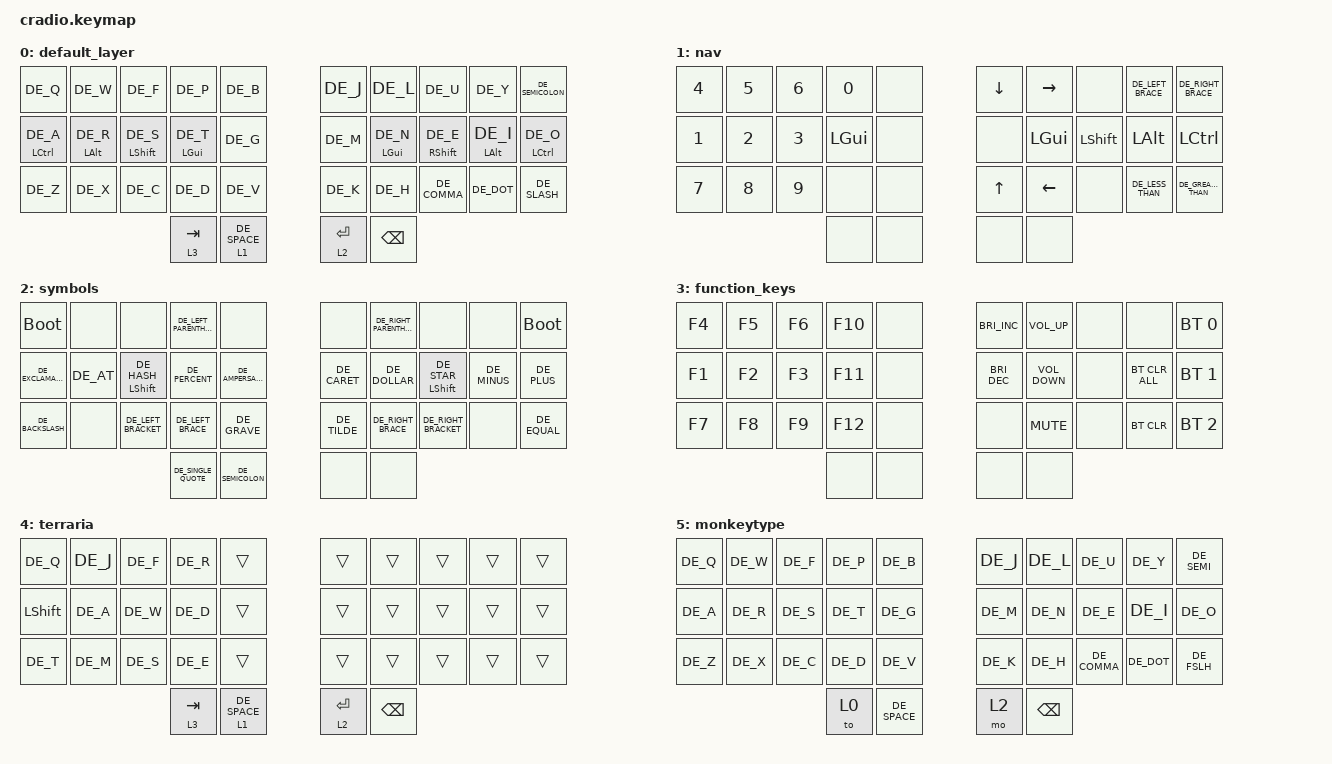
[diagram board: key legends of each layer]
/*
 * Copyright (c) 2020 The ZMK Contributors
 *
 * SPDX-License-Identifier: MIT
 */

#include "keys_de.h"
#include <behaviors.dtsi>
#include <dt-bindings/zmk/bt.h>
#include <dt-bindings/zmk/keys.h>

&mt {
    flavor = "tap-preferred";
    tapping_term_ms = <200>;
};

/ {
    combos {
        compatible = "zmk,combos";

        monkeytype {
            bindings = <&to 4>;
            key-positions = <0 9>;
        };

        layer_default {
            bindings = <&to 0>;
            key-positions = <31 32>;
            layers = <0>;
        };

        terraria {
            bindings = <&to 4>;
            key-positions = <0 2>;
        };

        EscapeL {
            bindings = <&kp ESCAPE>;
            key-positions = <14 13>;
        };

        EscapeR {
            bindings = <&kp ESCAPE>;
            key-positions = <15 16>;
        };
    };

    keymap {
        compatible = "zmk,keymap";

        default_layer {
            bindings = <
&kp DE_Q        &kp DE_W       &kp DE_F         &kp DE_P       &kp DE_B        &kp DE_J     &kp DE_L       &kp DE_U         &kp DE_Y       &kp DE_SEMICOLON
&mt LCTRL DE_A  &mt LALT DE_R  &mt LSHIFT DE_S  &mt LGUI DE_T  &kp DE_G        &kp DE_M     &mt LGUI DE_N  &mt RSHIFT DE_E  &mt LALT DE_I  &mt LCTRL DE_O
&kp DE_Z        &kp DE_X       &kp DE_C         &kp DE_D       &kp DE_V        &kp DE_K     &kp DE_H       &kp DE_COMMA     &kp DE_DOT     &kp DE_SLASH
                                                &lt 3 TAB      &lt 1 DE_SPACE  &lt 2 ENTER  &kp BACKSPACE
            >;
        };

        nav {
            bindings = <
&kp NUMBER_4  &kp NUMBER_5  &kp NUMBER_6  &kp N0        &none  &kp DOWN_ARROW  &kp RIGHT_ARROW  &none           &kp DE_LEFT_BRACE  &kp DE_RIGHT_BRACE
&kp NUMBER_1  &kp NUMBER_2  &kp NUMBER_3  &kp LEFT_GUI  &none  &none           &kp LGUI         &kp LEFT_SHIFT  &kp LEFT_ALT       &kp LCTRL
&kp NUMBER_7  &kp NUMBER_8  &kp NUMBER_9  &none         &none  &kp UP_ARROW    &kp LEFT_ARROW   &none           &kp DE_LESS_THAN   &kp DE_GREATER_THAN
                                          &none         &none  &none           &none
            >;
        };

        symbols {
            bindings = <
&bootloader         &none      &none                &kp DE_LEFT_PARENTHESIS  &none             &none         &kp DE_RIGHT_PARENTHESIS  &none                 &none         &bootloader
&kp DE_EXCLAMATION  &kp DE_AT  &mt LSHFT DE_HASH    &kp DE_PERCENT           &kp DE_AMPERSAND  &kp DE_CARET  &kp DE_DOLLAR             &mt LSHFT DE_STAR     &kp DE_MINUS  &kp DE_PLUS
&kp DE_BACKSLASH    &none      &kp DE_LEFT_BRACKET  &kp DE_LEFT_BRACE        &kp DE_GRAVE      &kp DE_TILDE  &kp DE_RIGHT_BRACE        &kp DE_RIGHT_BRACKET  &none         &kp DE_EQUAL
                                                    &kp DE_SINGLE_QUOTE      &kp DE_SEMICOLON  &none         &none
            >;
        };

        function_keys {
            bindings = <
&kp F4  &kp F5  &kp F6  &kp F10  &none  &kp C_BRIGHTNESS_INC  &kp C_VOLUME_UP    &none  &none           &bt BT_SEL 0
&kp F1  &kp F2  &kp F3  &kp F11  &none  &kp C_BRIGHTNESS_DEC  &kp C_VOLUME_DOWN  &none  &bt BT_CLR_ALL  &bt BT_SEL 1
&kp F7  &kp F8  &kp F9  &kp F12  &none  &none                 &kp K_MUTE         &none  &bt BT_CLR      &bt BT_SEL 2
                        &none    &none  &none                 &none
            >;
        };

        terraria {
            bindings = <
&kp DE_Q        &kp DE_J  &kp DE_F  &kp DE_R   &trans          &trans       &trans         &trans  &trans  &trans
&kp LEFT_SHIFT  &kp DE_A  &kp DE_W  &kp DE_D   &trans          &trans       &trans         &trans  &trans  &trans
&kp DE_T        &kp DE_M  &kp DE_S  &kp DE_E   &trans          &trans       &trans         &trans  &trans  &trans
                                    &lt 3 TAB  &lt 1 DE_SPACE  &lt 2 ENTER  &kp BACKSPACE
            >;
        };

        monkeytype {
            bindings = <
&kp DE_Q  &kp DE_W  &kp DE_F  &kp DE_P  &kp DE_B      &kp DE_J  &kp DE_L       &kp DE_U      &kp DE_Y    &kp DE_SEMI
&kp DE_A  &kp DE_R  &kp DE_S  &kp DE_T  &kp DE_G      &kp DE_M  &kp DE_N       &kp DE_E      &kp DE_I    &kp DE_O
&kp DE_Z  &kp DE_X  &kp DE_C  &kp DE_D  &kp DE_V      &kp DE_K  &kp DE_H       &kp DE_COMMA  &kp DE_DOT  &kp DE_FSLH
                              &to 0     &kp DE_SPACE  &mo 2     &kp BACKSPACE
            >;
        };
    };
};
